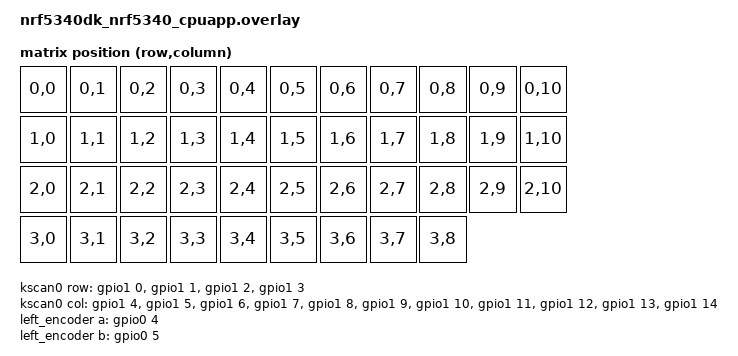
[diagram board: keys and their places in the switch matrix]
/* nrf5340dk_nrf5340_cpuapp.overlay */

#include <dt-bindings/zmk/matrix_transform.h>

/* --- STÄNG AV KONFLIKTER --- */
&i2c1 { status = "disabled"; };
&uart1 { status = "disabled"; };
&qspi { status = "disabled"; };

/ {
    chosen {
        zmk,kscan = &kscan0;
        zmk,matrix_transform = &default_transform;

        /* Båda måste finnas! */
        zmk,display = &st7789;
        zephyr,display = &st7789;
    };

    default_transform: keymap_transform_0 {
        compatible = "zmk,matrix-transform";
        columns = <11>;
        rows = <4>;

        map = <
        RC(0,0) RC(0,1) RC(0,2) RC(0,3) RC(0,4) RC(0,5) RC(0,6) RC(0,7) RC(0,8) RC(0,9) RC(0,10)
        RC(1,0) RC(1,1) RC(1,2) RC(1,3) RC(1,4) RC(1,5) RC(1,6) RC(1,7) RC(1,8) RC(1,9) RC(1,10)
        RC(2,0) RC(2,1) RC(2,2) RC(2,3) RC(2,4) RC(2,5) RC(2,6) RC(2,7) RC(2,8) RC(2,9) RC(2,10)
        RC(3,0) RC(3,1) RC(3,2) RC(3,3) RC(3,4) RC(3,5) RC(3,6) RC(3,7) RC(3,8)
        >;
    };

    kscan0: kscan_0 {
        compatible = "zmk,kscan-gpio-matrix";
        label = "KSCAN";
        diode-direction = "col2row";

        row-gpios
            = <&gpio1 0 (GPIO_ACTIVE_HIGH | GPIO_PULL_DOWN)>
            , <&gpio1 1 (GPIO_ACTIVE_HIGH | GPIO_PULL_DOWN)>
            , <&gpio1 2 (GPIO_ACTIVE_HIGH | GPIO_PULL_DOWN)>
            , <&gpio1 3 (GPIO_ACTIVE_HIGH | GPIO_PULL_DOWN)>
            ;

        col-gpios
            = <&gpio1 4 GPIO_ACTIVE_HIGH>
            , <&gpio1 5 GPIO_ACTIVE_HIGH>
            , <&gpio1 6 GPIO_ACTIVE_HIGH>
            , <&gpio1 7 GPIO_ACTIVE_HIGH>
            , <&gpio1 8 GPIO_ACTIVE_HIGH>
            , <&gpio1 9 GPIO_ACTIVE_HIGH>
            , <&gpio1 10 GPIO_ACTIVE_HIGH>
            , <&gpio1 11 GPIO_ACTIVE_HIGH>
            , <&gpio1 12 GPIO_ACTIVE_HIGH>
            , <&gpio1 13 GPIO_ACTIVE_HIGH>
            , <&gpio1 14 GPIO_ACTIVE_HIGH>
            ;
    };

    left_encoder: encoder_left {
        compatible = "alps,ec11";
        label = "LEFT_ENCODER";
        a-gpios = <&gpio0 4 (GPIO_ACTIVE_HIGH | GPIO_PULL_UP)>;
        b-gpios = <&gpio0 5 (GPIO_ACTIVE_HIGH | GPIO_PULL_UP)>;
        steps = <80>;
        status = "okay";
    };

    sensors {
        compatible = "zmk,keymap-sensors";
        sensors = <&left_encoder>;
        triggers-per-rotation = <20>;
    };
};

/* --- PIN CONTROL DEFINITION --- */
&pinctrl {
    /* Vi skapar en EGEN profil för att inte krocka med kortets default */
    spi1_custom_default: spi1_custom_default {
        group1 {
            psels = <NRF_PSEL(SPIM_SCK, 0, 17)>,
                    <NRF_PSEL(SPIM_MOSI, 0, 13)>,
                    <NRF_PSEL(SPIM_MISO, 0, 255)>; /* 255 = Inte ansluten */
        };
    };
};

/* --- SPI & DISPLAY --- */
&spi1 {
    compatible = "nordic,nrf-spim";
    status = "okay";

    /* HÄR ÄR FIXEN FÖR FELET: */
    pinctrl-0 = <&spi1_custom_default>; /* Peka på vår custom profil */
    /delete-property/ pinctrl-1;        /* Ta bort sleep-läget för att undvika krångel */
    pinctrl-names = "default";          /* Säg explicit att detta är default */

    cs-gpios = <&gpio0 16 GPIO_ACTIVE_LOW>;

    st7789: st7789v@0 {
        compatible = "sitronix,st7789v";
        status = "okay";
        reg = <0>;
        spi-max-frequency = <20000000>;
        width = <240>;
        height = <240>;
        x-offset = <0>;
        y-offset = <0>;

        cmd-data-gpios = <&gpio0 15 GPIO_ACTIVE_HIGH>;
        reset-gpios = <&gpio0 14 GPIO_ACTIVE_HIGH>;

        mdac = <0x00>;
        colmod = <0x55>;
        lcm = <0x2c>;
        porch-param = [0c 0c 00 33 33];
        cmd2en-param = [5a 69 02 01];
        pwctrl1-param = [a4 a1];
        pvgam-param = [D0 04 0D 11 13 2B 3F 54 4C 18 0D 0B 1F 23];
        nvgam-param = [D0 04 0C 11 13 2C 3F 44 51 2F 1F 1F 20 23];
        ram-param = [00 F0];
        rgb-param = [CD 08 14];

        gctrl = <0x35>;
        vcom = <0x19>;
        gamma = <0x01>;
    };
};

&pinctrl {
    /* (Tomma pinctrl-block här nere är okej, de mergas automatiskt) */
};
